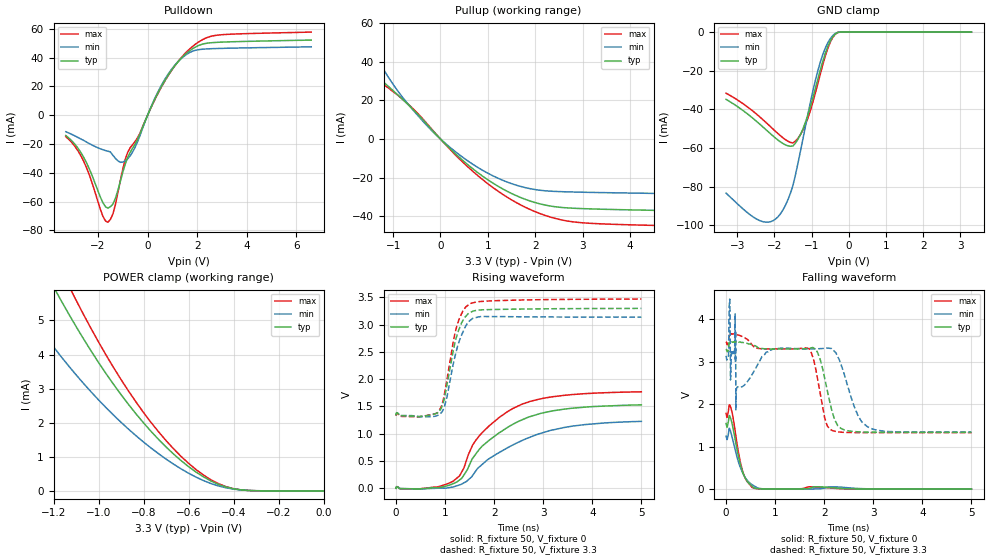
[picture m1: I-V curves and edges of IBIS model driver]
| IBIS file buffer.ibs created by PYS2IBIS3
| Missouri S&T EMC Lab
[IBIS Ver] 7.1
[File Name] buffer.ibs
[File Rev] 0
[Date] December 6, 2025
[Source] Generated for SPICE to IBIS conversion
[Notes] s2ibispy
[Disclaimer] This file is for demonstration purposes only
[Copyright] Copyright 2025 Your Company
[Component] CMOS_Buffer
[Manufacturer] Your Company
[Package]
| variable   typ   min   max
R_pkg 0 NA NA
L_pkg 0H NA NA
C_pkg 0F NA NA
[Pin]  signal_name   model_name   R_pin   L_pin   C_pin
vss   vss   GND
vdd   vdd   POWER
| oe oe dummy
| in in dummy
out   out   driver
| End of Component
| Models and submodels in the file (1): driver (I/O)
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[Model] driver
Model_type I/O
Polarity Non-Inverting
Enable Active-High
Vinl  = 0.8V
Vinh  = 2V
C_comp 1.2000pF 1.0000pF 1.4000pF
[Temperature Range] 27.0000 100.0000 0.0000
[Voltage Range] 3.3000V 3.0000V 3.6000V
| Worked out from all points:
|   slope of the pulldown table from 0 to 0.495 V, typ, clamps not added: 27.4 ohm
|   slope of the pullup table from 0 to 0.495 V, typ, clamps not added: 42.7 ohm
|   GND clamp passes 1 mA (typ) near -0.36 V on its own axis
|   POWER clamp passes 1 mA (typ) near -0.65 V on its own axis
|   rising waveform, R_fixture 50, V_fixture 0: 20-80 % time 1.06ns typ, 1.28ns min, 918ps max; typ from 0 V to 1.53 V
|   rising waveform, R_fixture 50, V_fixture 3.3: 20-80 % time 277ps typ, 278ps min, 269ps max; typ from 1.34 V to 3.3 V
|   falling waveform, R_fixture 50, V_fixture 0: 20-80 % time 195ps typ, 232ps min, 180ps max; typ from 1.54 V to 0 V
|   falling waveform, R_fixture 50, V_fixture 3.3: 20-80 % time 233ps typ, 315ps min, 211ps max; typ from 3.3 V to 1.34 V
[Pulldown]
| Voltage   I(typ)   I(min)   I(max)
-3.3V     -14.11mA   -11.49mA   -14.92mA
-2.6V     -28.62mA   -17.33mA   -31.26mA
-1.8V     -60.89mA   -24.01mA   -70.36mA
-1.6V     -64.58mA   -24.99mA   -74.37mA
-1.3V     -57.87mA   -29.98mA   -62.22mA
-1V       -39.62mA   -32.58mA   -37.38mA
-800mV    -29.26mA   -30.26mA   -25.73mA
-400mV    -16.61mA   -18.23mA   -15.56mA
600mV     21.34mA    22.16mA    20.91mA
1.7V      44.86mA    43.6mA     46.12mA
2.8V      50.65mA    46.37mA    55.62mA
6.6V      52.2mA     47.56mA    57.78mA
[Pullup]
| Voltage   I(typ)   I(min)   I(max)
-3.3V     52.9mA     288mA      32.03mA
-2.9V     57.26mA    200.3mA    40.86mA
-2.5V     55.97mA    137.1mA    43.93mA
-2.2V     50.87mA    101.5mA    42.91mA
-1.7V     40.21mA    61.42mA    36.21mA
-1V       25.06mA    28.32mA    24.59mA
-200mV    5.278mA    4.74mA     5.561mA
600mV     -13.78mA   -11.72mA   -14.92mA
1.5V      -28.2mA    -23.1mA    -31.5mA
2.2V      -34.15mA   -26.79mA   -39.49mA
2.9V      -35.95mA   -27.49mA   -43.18mA
6.6V      -37.71mA   -28.71mA   -45.68mA
[GND Clamp]
| Voltage   I(typ)   I(min)   I(max)
-3.3V     -34.82mA   -83.32mA   -31.62mA
-2.367V   -48.08mA   -97.77mA   -44.32mA
-2.1V     -52.69mA   -98.1mA    -49.02mA
-1.833V   -56.87mA   -93.93mA   -53.7mA
-1.633V   -58.86mA   -86.63mA   -56.5mA
-1.5V     -58.92mA   -79.34mA   -57.37mA
-1.233V   -50.13mA   -55.35mA   -50.74mA
-1.033V   -38.66mA   -36.46mA   -40.67mA
-766.7mV  -19.68mA   -15.62mA   -21.83mA
-566.7mV  -7.562mA   -5.625mA   -8.589mA
-366.7mV  -1.04mA    -747.4uA   -1.186mA
3.3V      806.1pA    7.276uA    187.3pA
[POWER Clamp]
| Voltage   I(typ)   I(min)   I(max)
-3.3V     69.1mA     63.7mA     73.07mA
-1.367V   8.162mA    5.773mA    9.455mA
-1.2V     5.986mA    4.223mA    6.947mA
-1.167V   5.586mA    3.941mA    6.483mA
-1.133V   5.198mA    3.669mA    6.033mA
-1.1V     4.823mA    3.406mA    5.596mA
-966.7mV  3.44mA     2.442mA    3.986mA
-833.3mV  2.26mA     1.618mA    2.607mA
-700mV    1.29mA     934.1uA    1.477mA
-566.7mV  553.4uA    405uA      627uA
-400mV    62.27uA    53.24uA    65.79uA
0V        806.1pA    6.115nA    316.9pA
[Ramp]
| variable   typ   min   max
dV/dt_r 0.9180/1.062n 0.7362/1.282n 1.0620/0.9184n
dV/dt_f 1.1772/0.2338n 1.0914/0.3121n 1.2714/0.2043n
R_load = 50
[Rising Waveform]
R_fixture = 50
V_fixture = 0
|time   V(typ)   V(min)   V(max)
0s        7.302nV    59.67nV    2.904nV
845.8ps   13.19mV    3.977mV    25.35mV
1.166ns   84.72mV    25.44mV    130.3mV
1.346ns   188.9mV    80.9mV     308.7mV
1.557ns   542.7mV    228mV      782.9mV
1.737ns   754.9mV    422.1mV    1.002V
2.197ns   1.073V     705.8mV    1.361V
2.558ns   1.251V     871.7mV    1.539V
3.609ns   1.47V      1.142V     1.72V
5ns       1.53V      1.227V     1.77V
[Rising Waveform]
R_fixture = 50
V_fixture = 3.3
|time   V(typ)   V(min)   V(max)
0s        1.338V     1.342V     1.329V
450.5ps   1.313V     1.319V     1.309V
880.9ps   1.409V     1.349V     1.422V
991ps     1.67V      1.506V     1.739V
1.156ns   2.473V     2.226V     2.625V
1.236ns   2.783V     2.541V     2.965V
1.361ns   3.074V     2.858V     3.25V
1.517ns   3.226V     3.082V     3.389V
1.782ns   3.273V     3.151V     3.428V
5ns       3.299V     3.139V     3.47V
[Falling Waveform]
R_fixture = 50
V_fixture = 0
|time   V(typ)   V(min)   V(max)
0s        1.545V     1.247V     1.783V
20ps      1.456V     1.166V     1.689V
65.1ps    1.732V     1.434V     1.978V
90.1ps    1.681V     1.369V     1.943V
135.1ps   1.48V      1.169V     1.736V
225.2ps   920.1mV    745.2mV    1.054V
340.3ps   396.7mV    377.5mV    410.9mV
430.4ps   187.1mV    207.7mV    177.3mV
575.6ps   28.7mV     73.52mV    20.19mV
5ns       1.698uV    3.391uV    3.974uV
[Falling Waveform]
R_fixture = 50
V_fixture = 3.3
|time   V(typ)   V(min)   V(max)
0s        3.3V       3.139V     3.472V
75.1ps    3.454V     4.475V     3.671V
90.1ps    3.455V     2.572V     3.656V
185.2ps   3.473V     4.129V     3.649V
195.2ps   3.468V     3.734V     3.649V
200.2ps   3.465V     1.865V     3.648V
1.697ns   3.317V     3.302V     3.302V
2.042ns   2.439V     3.326V     1.558V
2.873ns   1.342V     1.473V     1.329V
5ns       1.338V     1.342V     1.329V
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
